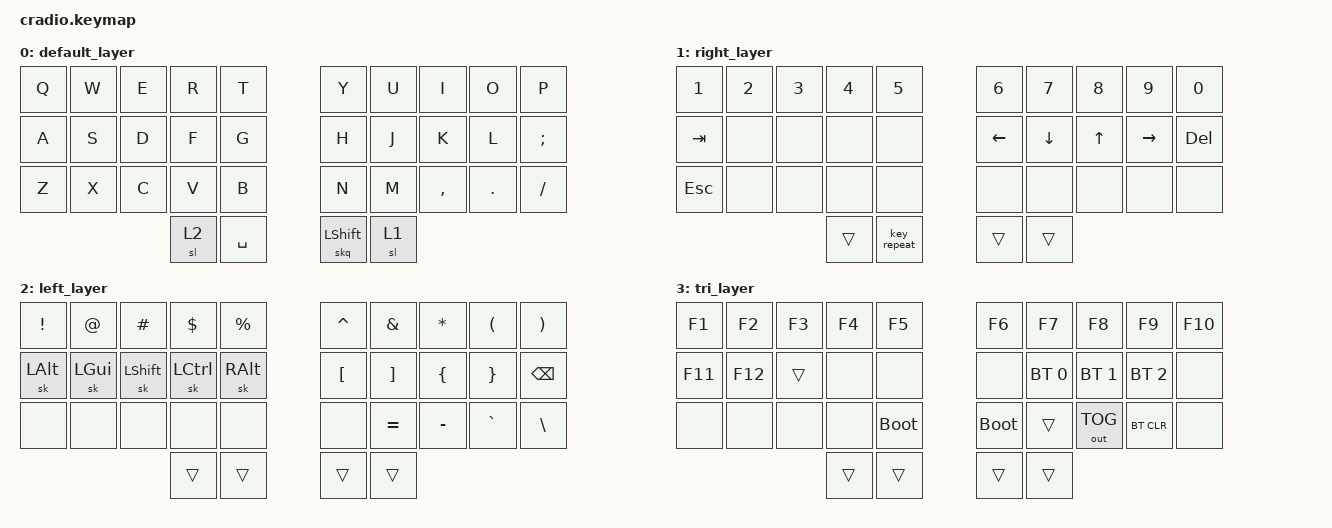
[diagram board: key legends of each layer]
// Copyright (c) 2022 The ZMK Contributors
// SPDX-License-Identifier: MIT

#include <behaviors.dtsi>
#include <dt-bindings/zmk/bt.h>
#include <dt-bindings/zmk/keys.h>
#include <dt-bindings/zmk/outputs.h>

#define L_COL 1
#define L_RIGHT 2
#define L_LEFT 3
#define L_TRI 4

/ {
    behaviors {
        ht: hold_tap {
            label = "hold_tap";
            compatible = "zmk,behavior-hold-tap";
            #binding-cells = <2>;
            flavor = "balanced";
            tapping-term-ms = <300>;
            quick-tap-ms = <150>;
            global-quick-tap;
            bindings = <&kp>, <&kp>;
        };

        skq: sticky_key_quick_release {
            compatible = "zmk,behavior-sticky-key";
            label = "STICKY_KEY_QUICK_RELEASE";
            #binding-cells = <1>;
            bindings = <&kp>;
            release-after-ms = <1000>;
            quick-release;
        };
    };

    conditional_layers {
        compatible = "zmk,conditional-layers";

        tri_layer {
            if-layers = <2 1>;
            then-layer = <3>;
        };
    };

    keymap {
        compatible = "zmk,keymap";

        default_layer {
            bindings = <
&kp Q  &kp W  &kp E  &kp R  &kp T        &kp Y       &kp U  &kp I      &kp O    &kp P
&kp A  &kp S  &kp D  &kp F  &kp G        &kp H       &kp J  &kp K      &kp L    &kp SEMICOLON
&kp Z  &kp X  &kp C  &kp V  &kp B        &kp N       &kp M  &kp COMMA  &kp DOT  &kp FSLH
                     &sl 2  &kp SPACE    &skq LSHFT  &sl 1
            >;
        };

        // symbol layer

        right_layer {
            bindings = <
&kp N1      &kp N2  &kp N3  &kp N4  &kp N5         &kp N6    &kp N7    &kp N8        &kp N9           &kp N0
&kp TAB     &none   &none   &none   &none          &kp LEFT  &kp DOWN  &kp UP_ARROW  &kp RIGHT_ARROW  &kp DELETE
&kp ESCAPE  &none   &none   &none   &none          &none     &none     &none         &none            &none
                            &trans  &key_repeat    &trans    &trans
            >;
        };

        // extend layer

        left_layer {
            bindings = <
&kp EXCLAMATION  &kp AT    &kp HASH   &kp DOLLAR  &kp PERCENT    &kp CARET         &kp AMPERSAND      &kp ASTERISK    &kp LEFT_PARENTHESIS  &kp RIGHT_PARENTHESIS
&sk LALT         &sk LGUI  &sk LSHFT  &sk LCTRL   &sk RALT       &kp LEFT_BRACKET  &kp RIGHT_BRACKET  &kp LEFT_BRACE  &kp RIGHT_BRACE       &kp BACKSPACE
&none            &none     &none      &none       &none          &none             &kp EQUAL          &kp MINUS       &kp GRAVE             &kp BACKSLASH
                                      &trans      &trans         &trans            &trans
            >;
        };

        // extended symbol layer

        tri_layer {
            bindings = <
&kp F1   &kp F2   &kp F3  &kp F4  &kp F5         &kp F6       &kp F7        &kp F8        &kp F9        &kp F10
&kp F11  &kp F12  &trans  &none   &none          &none        &bt BT_SEL 0  &bt BT_SEL 1  &bt BT_SEL 2  &none
&none    &none    &none   &none   &bootloader    &bootloader  &trans        &out OUT_TOG  &bt BT_CLR    &none
                          &trans  &trans         &trans       &trans
            >;
        };
    };
};
